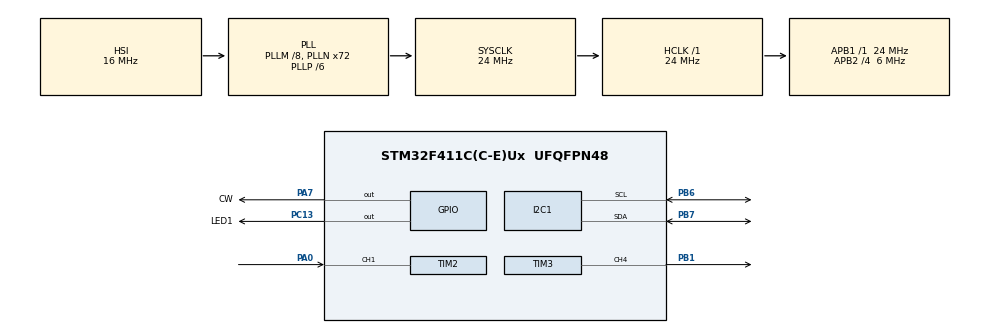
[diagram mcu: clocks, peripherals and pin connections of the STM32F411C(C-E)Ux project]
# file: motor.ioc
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Mcu.Family=STM32F4
Mcu.Name=STM32F411C(C-E)Ux
Mcu.Package=UFQFPN48
NVIC.PriorityGroup=NVIC_PRIORITYGROUP_4
NVIC.TIM2_IRQn=true\:0\:0\:false\:false\:true\:true\:true\:true
NVIC.TIM3_IRQn=true\:0\:0\:false\:false\:true\:true\:true\:true
PA0-WKUP.Signal=S_TIM2_CH1_ETR
PA7.GPIO_Label=CW
PA7.Signal=GPIO_Output
PB1.Signal=S_TIM3_CH4
PB6.Mode=I2C
PB6.Signal=I2C1_SCL
PB7.Mode=I2C
PB7.Signal=I2C1_SDA
PC13-ANTI_TAMP.GPIO_Label=LED1
PC13-ANTI_TAMP.Signal=GPIO_Output
PH0\ -\ OSC_IN.Mode=HSE-External-Oscillator
PH0\ -\ OSC_IN.Signal=RCC_OSC_IN
PH1\ -\ OSC_OUT.Mode=HSE-External-Oscillator
PH1\ -\ OSC_OUT.Signal=RCC_OSC_OUT
ProjectManager.HeapSize=0x200
ProjectManager.StackSize=0x400
ProjectManager.TargetToolchain=STM32CubeIDE
RCC.48MHZClocksFreq_Value=36000000
RCC.AHBFreq_Value=24000000
RCC.APB1Freq_Value=24000000
RCC.APB1TimFreq_Value=24000000
RCC.APB2CLKDivider=RCC_HCLK_DIV4
RCC.APB2Freq_Value=6000000
RCC.APB2TimFreq_Value=12000000
RCC.CortexFreq_Value=24000000
RCC.HCLKFreq_Value=24000000
RCC.HSE_VALUE=25000000
RCC.HSI_VALUE=16000000
RCC.LSE_VALUE=32768
RCC.PLLM=8
RCC.PLLN=72
RCC.PLLP=RCC_PLLP_DIV6
RCC.SYSCLKFreq_VALUE=24000000
RCC.SYSCLKSource=RCC_SYSCLKSOURCE_PLLCLK
RCC.VCOOutputFreq_Value=144000000
SH.S_TIM2_CH1_ETR.0=TIM2_CH1,Input_Capture1_from_TI1
SH.S_TIM3_CH4.0=TIM3_CH4,PWM Generation4 CH4
TIM2.Channel-Input_Capture1_from_TI1=TIM_CHANNEL_1
TIM2.Period=6000-1
TIM2.Prescaler=24000-1
TIM3.Channel-PWM\ Generation4\ CH4=TIM_CHANNEL_4
TIM3.Period=30-1
TIM3.Prescaler=24-1
VP_TIM2_VS_ClockSourceINT.Mode=Internal
VP_TIM3_VS_ClockSourceINT.Mode=Internal
board=custom

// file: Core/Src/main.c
/* USER CODE BEGIN Header */
/**
  ******************************************************************************
  * @file           : main.c
  * @brief          : Main program body
  ******************************************************************************
  * @attention
  *
  * Copyright (c) 2023 STMicroelectronics.
  * All rights reserved.
  *
  * This software is licensed under terms that can be found in the LICENSE file
  * in the root directory of this software component.
  * If no LICENSE file comes with this software, it is provided AS-IS.
  *
  ******************************************************************************
  */
/* USER CODE END Header */
#include "main.h"

/* USER CODE BEGIN Includes */
#include "ssd1306.h"
#include <stdio.h>
/* USER CODE END Includes */

/* USER CODE BEGIN PD */
char voltageBuff[100];
char lastCountBuff[100];
uint32_t period;
uint32_t pulseWidth;
uint32_t count = 0;
uint32_t last_count = 0;
char speedBuff[100];
char countBuff[100];
char textBuff[100];
/* USER CODE END PD */

I2C_HandleTypeDef hi2c1;

TIM_HandleTypeDef htim2;
TIM_HandleTypeDef htim3;

void SystemClock_Config(void);
static void MX_GPIO_Init(void);
static void MX_I2C1_Init(void);
static void MX_TIM3_Init(void);
static void MX_TIM2_Init(void);
/* USER CODE BEGIN PFP */
static void print_num(float);
static void print_pwm(uint32_t, uint32_t);
static float convert_v(uint32_t, uint32_t);
static void print_text(int, char*, int);
/* USER CODE END PFP */

int main(void)
{

  /* MCU Configuration--------------------------------------------------------*/

  /* Reset of all peripherals, Initializes the Flash interface and the Systick. */
  HAL_Init();

  /* Configure the system clock */
  SystemClock_Config();

  /* Initialize all configured peripherals */
  MX_GPIO_Init();
  MX_I2C1_Init();
  MX_TIM3_Init();
  MX_TIM2_Init();
  /* USER CODE BEGIN 2 */
  ssd1306_Init();
  HAL_TIM_PWM_Start(&htim3, TIM_CHANNEL_4);
  __HAL_TIM_CLEAR_FLAG(&htim2, TIM_SR_UIF);
  __HAL_TIM_ENABLE_IT(&htim2, TIM_IT_UPDATE);
  HAL_TIM_IC_Start_IT(&htim2, TIM_CHANNEL_1);
//  HAL_TIM_IC_Start_IT(&htim2, TIM_CHANNEL_2);
  /* USER CODE END 2 */

  /* Infinite loop */
  /* USER CODE BEGIN WHILE */
  while (1){
//	  int start = 0;
//	  int stop = 15;
//	  int delay = 500;
//	  HAL_GPIO_WritePin(CW_GPIO_Port, CW_Pin, 1);
	  int i = 10;
//	  for(int i = start; i < stop; i++) {
		  print_text(45, "up", i);
		  __HAL_TIM_SetCompare(&htim3, TIM_CHANNEL_4, i);
		  HAL_GPIO_TogglePin(LED1_GPIO_Port, LED1_Pin);
		  print_pwm(count, last_count);
		  print_num(convert_v(period, pulseWidth));
//		  HAL_Delay(delay);
//	  }

//	  HAL_GPIO_WritePin(CW_GPIO_Port, CW_Pin, 0);
//	  for(int i = start; i < stop; i++) {
//		print_text(45, "down", i);
//	   __HAL_TIM_SetCompare(&htim3, TIM_CHANNEL_4, i);
//	   HAL_GPIO_TogglePin(LED1_GPIO_Port, LED1_Pin);
//	   print_pwm(count, last_count);
//	   print_num(convert_v(period, pulseWidth));
//	   HAL_Delay(delay);
//	  }
	  HAL_Delay(200);
    /* USER CODE END WHILE */

  }
}

void SystemClock_Config(void)
{
  RCC_OscInitTypeDef RCC_OscInitStruct = {0};
  RCC_ClkInitTypeDef RCC_ClkInitStruct = {0};

  /** Configure the main internal regulator output voltage
  */
  __HAL_RCC_PWR_CLK_ENABLE();
  __HAL_PWR_VOLTAGESCALING_CONFIG(PWR_REGULATOR_VOLTAGE_SCALE1);

  /** Initializes the RCC Oscillators according to the specified parameters
  * in the RCC_OscInitTypeDef structure.
  */
  RCC_OscInitStruct.OscillatorType = RCC_OSCILLATORTYPE_HSI;
  RCC_OscInitStruct.HSIState = RCC_HSI_ON;
  RCC_OscInitStruct.HSICalibrationValue = RCC_HSICALIBRATION_DEFAULT;
  RCC_OscInitStruct.PLL.PLLState = RCC_PLL_ON;
  RCC_OscInitStruct.PLL.PLLSource = RCC_PLLSOURCE_HSI;
  RCC_OscInitStruct.PLL.PLLM = 8;
  RCC_OscInitStruct.PLL.PLLN = 72;
  RCC_OscInitStruct.PLL.PLLP = RCC_PLLP_DIV6;
  RCC_OscInitStruct.PLL.PLLQ = 4;
  if (HAL_RCC_OscConfig(&RCC_OscInitStruct) != HAL_OK)
  {
    Error_Handler();
  }

  /** Initializes the CPU, AHB and APB buses clocks
  */
  RCC_ClkInitStruct.ClockType = RCC_CLOCKTYPE_HCLK|RCC_CLOCKTYPE_SYSCLK
                              |RCC_CLOCKTYPE_PCLK1|RCC_CLOCKTYPE_PCLK2;
  RCC_ClkInitStruct.SYSCLKSource = RCC_SYSCLKSOURCE_PLLCLK;
  RCC_ClkInitStruct.AHBCLKDivider = RCC_SYSCLK_DIV1;
  RCC_ClkInitStruct.APB1CLKDivider = RCC_HCLK_DIV1;
  RCC_ClkInitStruct.APB2CLKDivider = RCC_HCLK_DIV4;

  if (HAL_RCC_ClockConfig(&RCC_ClkInitStruct, FLASH_LATENCY_0) != HAL_OK)
  {
    Error_Handler();
  }
}

static void MX_I2C1_Init(void)
{

  hi2c1.Instance = I2C1;
  hi2c1.Init.ClockSpeed = 100000;
  hi2c1.Init.DutyCycle = I2C_DUTYCYCLE_2;
  hi2c1.Init.OwnAddress1 = 0;
  hi2c1.Init.AddressingMode = I2C_ADDRESSINGMODE_7BIT;
  hi2c1.Init.DualAddressMode = I2C_DUALADDRESS_DISABLE;
  hi2c1.Init.OwnAddress2 = 0;
  hi2c1.Init.GeneralCallMode = I2C_GENERALCALL_DISABLE;
  hi2c1.Init.NoStretchMode = I2C_NOSTRETCH_DISABLE;
  if (HAL_I2C_Init(&hi2c1) != HAL_OK)
  {
    Error_Handler();
  }

}

static void MX_TIM2_Init(void)
{

  TIM_ClockConfigTypeDef sClockSourceConfig = {0};
  TIM_MasterConfigTypeDef sMasterConfig = {0};
  TIM_IC_InitTypeDef sConfigIC = {0};

  htim2.Instance = TIM2;
  htim2.Init.Prescaler = 24000-1;
  htim2.Init.CounterMode = TIM_COUNTERMODE_UP;
  htim2.Init.Period = 6000-1;
  htim2.Init.ClockDivision = TIM_CLOCKDIVISION_DIV1;
  htim2.Init.AutoReloadPreload = TIM_AUTORELOAD_PRELOAD_DISABLE;
  if (HAL_TIM_Base_Init(&htim2) != HAL_OK)
  {
    Error_Handler();
  }
  sClockSourceConfig.ClockSource = TIM_CLOCKSOURCE_INTERNAL;
  if (HAL_TIM_ConfigClockSource(&htim2, &sClockSourceConfig) != HAL_OK)
  {
    Error_Handler();
  }
  if (HAL_TIM_IC_Init(&htim2) != HAL_OK)
  {
    Error_Handler();
  }
  sMasterConfig.MasterOutputTrigger = TIM_TRGO_RESET;
  sMasterConfig.MasterSlaveMode = TIM_MASTERSLAVEMODE_DISABLE;
  if (HAL_TIMEx_MasterConfigSynchronization(&htim2, &sMasterConfig) != HAL_OK)
  {
    Error_Handler();
  }
  sConfigIC.ICPolarity = TIM_INPUTCHANNELPOLARITY_RISING;
  sConfigIC.ICSelection = TIM_ICSELECTION_DIRECTTI;
  sConfigIC.ICPrescaler = TIM_ICPSC_DIV1;
  sConfigIC.ICFilter = 0;
  if (HAL_TIM_IC_ConfigChannel(&htim2, &sConfigIC, TIM_CHANNEL_1) != HAL_OK)
  {
    Error_Handler();
  }

}

static void MX_TIM3_Init(void)
{

  TIM_ClockConfigTypeDef sClockSourceConfig = {0};
  TIM_MasterConfigTypeDef sMasterConfig = {0};
  TIM_OC_InitTypeDef sConfigOC = {0};

  htim3.Instance = TIM3;
  htim3.Init.Prescaler = 24-1;
  htim3.Init.CounterMode = TIM_COUNTERMODE_UP;
  htim3.Init.Period = 30-1;
  htim3.Init.ClockDivision = TIM_CLOCKDIVISION_DIV1;
  htim3.Init.AutoReloadPreload = TIM_AUTORELOAD_PRELOAD_DISABLE;
  if (HAL_TIM_Base_Init(&htim3) != HAL_OK)
  {
    Error_Handler();
  }
  sClockSourceConfig.ClockSource = TIM_CLOCKSOURCE_INTERNAL;
  if (HAL_TIM_ConfigClockSource(&htim3, &sClockSourceConfig) != HAL_OK)
  {
    Error_Handler();
  }
  if (HAL_TIM_PWM_Init(&htim3) != HAL_OK)
  {
    Error_Handler();
  }
  sMasterConfig.MasterOutputTrigger = TIM_TRGO_RESET;
  sMasterConfig.MasterSlaveMode = TIM_MASTERSLAVEMODE_DISABLE;
  if (HAL_TIMEx_MasterConfigSynchronization(&htim3, &sMasterConfig) != HAL_OK)
  {
    Error_Handler();
  }
  sConfigOC.OCMode = TIM_OCMODE_PWM1;
  sConfigOC.Pulse = 0;
  sConfigOC.OCPolarity = TIM_OCPOLARITY_HIGH;
  sConfigOC.OCFastMode = TIM_OCFAST_DISABLE;
  if (HAL_TIM_PWM_ConfigChannel(&htim3, &sConfigOC, TIM_CHANNEL_4) != HAL_OK)
  {
    Error_Handler();
  }
  HAL_TIM_MspPostInit(&htim3);

}

static void MX_GPIO_Init(void)
{
  GPIO_InitTypeDef GPIO_InitStruct = {0};

  /* GPIO Ports Clock Enable */
  __HAL_RCC_GPIOC_CLK_ENABLE();
  __HAL_RCC_GPIOH_CLK_ENABLE();
  __HAL_RCC_GPIOA_CLK_ENABLE();
  __HAL_RCC_GPIOB_CLK_ENABLE();

  /*Configure GPIO pin Output Level */
  HAL_GPIO_WritePin(LED1_GPIO_Port, LED1_Pin, GPIO_PIN_RESET);

  /*Configure GPIO pin Output Level */
  HAL_GPIO_WritePin(CW_GPIO_Port, CW_Pin, GPIO_PIN_RESET);

  /*Configure GPIO pin : LED1_Pin */
  GPIO_InitStruct.Pin = LED1_Pin;
  GPIO_InitStruct.Mode = GPIO_MODE_OUTPUT_PP;
  GPIO_InitStruct.Pull = GPIO_NOPULL;
  GPIO_InitStruct.Speed = GPIO_SPEED_FREQ_LOW;
  HAL_GPIO_Init(LED1_GPIO_Port, &GPIO_InitStruct);

  /*Configure GPIO pin : CW_Pin */
  GPIO_InitStruct.Pin = CW_Pin;
  GPIO_InitStruct.Mode = GPIO_MODE_OUTPUT_PP;
  GPIO_InitStruct.Pull = GPIO_NOPULL;
  GPIO_InitStruct.Speed = GPIO_SPEED_FREQ_LOW;
  HAL_GPIO_Init(CW_GPIO_Port, &GPIO_InitStruct);

}

/* USER CODE BEGIN 4 */
static void print_num(float x){
//	snprintf(voltageBuff, sizeof(voltageBuff), "Voltage: %.6f  ", x);
////	snprintf(voltageBuff, sizeof(voltageBuff), "Voltage: %i", x);
//	ssd1306_SetCursor(0, 30);
//	ssd1306_WriteString(voltageBuff, Font_7x10, White);
//	ssd1306_UpdateScreen();
}

static float convert_v(uint32_t period, uint32_t pulseWidth){
	return 3.3*pulseWidth/period;
}

static void print_text(int y, char* text, int i){
	snprintf(textBuff, sizeof(textBuff), "%s: %i   ", text, i);
	ssd1306_SetCursor(0, y);
	ssd1306_WriteString(textBuff, Font_7x10, White);
	ssd1306_UpdateScreen();
}

static void print_pwm(uint32_t count, uint32_t last_count){
	snprintf(countBuff, sizeof(countBuff), "count: %li    ", count);
	snprintf(speedBuff, sizeof(speedBuff), "speed: %li i/ms   ", last_count );
	ssd1306_SetCursor(0, 0);
	ssd1306_WriteString(countBuff, Font_7x10, White);
	ssd1306_SetCursor(0, 15);
	ssd1306_WriteString(speedBuff, Font_7x10, White);
	ssd1306_UpdateScreen();
}

void HAL_TIM_PeriodElapsedCallback(TIM_HandleTypeDef *htim){
	if(htim->Instance == TIM2){
		last_count = count;
		count = 0;
	}
}

void HAL_TIM_IC_CaptureCallback(TIM_HandleTypeDef *htim){
    if (htim->Instance == TIM2){
        if(htim->Channel == HAL_TIM_ACTIVE_CHANNEL_1){
           count++;
        }
    }
}

/* USER CODE END 4 */

void Error_Handler(void)
{
  __disable_irq();
  while (1)
  {
  }
}
